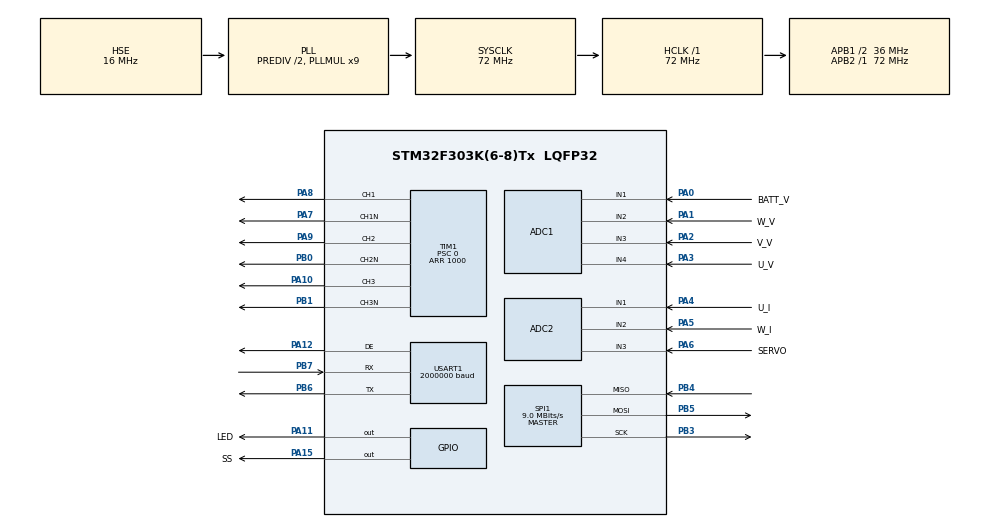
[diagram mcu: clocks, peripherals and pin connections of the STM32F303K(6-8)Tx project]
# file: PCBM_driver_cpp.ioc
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Mcu.Family=STM32F3
ADC2.ExternalTrigConv=ADC_EXTERNALTRIGCONV_T1_TRGO
PA6.Mode=IN3-Single-Ended
ADC2.OffsetNumber-2\#ChannelRegularConversion=ADC_OFFSET_NONE
RCC.CortexFreq_Value=72000000
Dma.ADC1.1.MemDataAlignment=DMA_MDATAALIGN_HALFWORD
PF0\ /\ OSC_IN.Mode=HSE-External-Oscillator
SPI1.VirtualType=VM_MASTER
TIM1.RepetitionCounter=1
ADC2.SamplingTimeOPAMP-4\#ChannelRegularConversion=ADC_SAMPLETIME_61CYCLES_5
USART1.BaudRate=2000000
RCC.SYSCLKSourceVirtual=RCC_SYSCLKSOURCE_PLLCLK
PA0.GPIO_Label=BATT_V
PA6.GPIO_Label=SERVO
ADC2.SamplingTime-4\#ChannelRegularConversion=ADC_SAMPLETIME_19CYCLES_5
ProjectManager.StackSize=0x400
PA15.GPIO_Label=SS
PA12.Signal=USART1_DE
TIM1.Prescaler=0
PA4.Mode=IN1-Single-Ended
ADC2.DMAContinuousRequests=ENABLE
Dma.ADC1.1.Instance=DMA1_Channel1
ADC1.Offset-0\#ChannelRegularConversion=0
ADC1.Channel-3\#ChannelRegularConversion=ADC_CHANNEL_4
SPI1.Direction=SPI_DIRECTION_2LINES
RCC.HCLKFreq_Value=72000000
Dma.ADC2.0.Direction=DMA_PERIPH_TO_MEMORY
ADC1.Offset-1\#ChannelRegularConversion=0
RCC.APB2TimFreq_Value=72000000
TIM3.Period=7200-1
PB6.Signal=USART1_TX
ADC1.Channel-2\#ChannelRegularConversion=ADC_CHANNEL_3
Dma.ADC2.0.MemInc=DMA_MINC_ENABLE
Dma.ADC1.1.PeriphDataAlignment=DMA_PDATAALIGN_HALFWORD
PB6.Mode=Asynchronous
SPI1.CalculateBaudRate=9.0 MBits/s
ADC1.SubFamily=STM32F303x8
ADC1.Offset-3\#ChannelRegularConversion=0
ADC2.EOCSelection=ADC_EOC_SEQ_CONV
RCC.AHBFreq_Value=72000000
Dma.ADC2.0.Priority=DMA_PRIORITY_LOW
ADC1.Channel-0\#ChannelRegularConversion=ADC_CHANNEL_1
RCC.HSE_VALUE=16000000
PB3.Mode=Full_Duplex_Master
ADC2.OffsetNumber-4\#ChannelRegularConversion=ADC_OFFSET_NONE
RCC.RCC_PLLsource_Clock_Source_FROM_HSE=RCC_HSE_PREDIV_DIV2
RCC.PLLMUL=RCC_PLL_MUL9
ADC1.Rank-2\#ChannelRegularConversion=3
Dma.SPI1_RX.2.Direction=DMA_PERIPH_TO_MEMORY
PB4.Mode=Full_Duplex_Master
Dma.SPI1_RX.2.MemDataAlignment=DMA_MDATAALIGN_BYTE
TIM1.DeadTime=30
PB5.Mode=Full_Duplex_Master
SPI1.DataSize=SPI_DATASIZE_8BIT
PA0.Mode=IN1-Single-Ended
Dma.ADC1.1.Priority=DMA_PRIORITY_LOW
PB7.Signal=USART1_RX
Dma.ADC1.1.Mode=DMA_CIRCULAR
PA8.Signal=S_TIM1_CH1
VP_TIM1_VS_ClockSourceINT.Mode=Internal
ADC1.SamplingTime-0\#ChannelRegularConversion=ADC_SAMPLETIME_2CYCLES_5
PA0.Signal=ADC1_IN1
Mcu.Package=LQFP32
PB1.Signal=TIM1_CH3N
PA6.Signal=ADC2_IN3
ADC1.EnableInjectedConversion=DISABLE
Dma.ADC1.1.Direction=DMA_PERIPH_TO_MEMORY
PA2.GPIO_Label=V_V
Dma.ADC1.1.MemInc=DMA_MINC_ENABLE
PA10.Signal=S_TIM1_CH3
ADC2.Offset-2\#ChannelRegularConversion=0
PA15.Signal=GPIO_Output
ADC1.OffsetNumber-1\#ChannelRegularConversion=ADC_OFFSET_NONE
ADC2.Rank-4\#ChannelRegularConversion=3
Dma.ADC2.0.Mode=DMA_CIRCULAR
ADC2.SubFamily=STM32F303x8
ADC2.SamplingTime-2\#ChannelRegularConversion=ADC_SAMPLETIME_19CYCLES_5
Dma.ADC2.0.PeriphDataAlignment=DMA_PDATAALIGN_HALFWORD
ADC2.NbrOfConversion=3
ADC2.Offset-4\#ChannelRegularConversion=0
Dma.Request2=SPI1_RX
Dma.SPI1_RX.2.Priority=DMA_PRIORITY_LOW
Dma.Request1=ADC1
RCC.APB1TimFreq_Value=72000000
Dma.SPI1_RX.2.Mode=DMA_NORMAL
ADC2.Rank-2\#ChannelRegularConversion=1
TIM1.Period=1000
NVIC.DMA1_Channel4_IRQn=true\:0\:0\:false\:false\:true\:false\:true
NVIC.USART1_IRQn=true\:0\:0\:false\:false\:true\:true\:true
Dma.Request0=ADC2
SPI1.BaudRatePrescaler=SPI_BAUDRATEPRESCALER_8
PA4.GPIO_Label=U_I
VP_TIM3_VS_ClockSourceINT.Mode=Internal
ADC2.Channel-3\#ChannelRegularConversion=ADC_CHANNEL_2
PB4.Signal=SPI1_MISO
PA3.Signal=ADC1_IN4
PA5.Mode=IN2-Single-Ended
RCC.PLLSourceVirtual=RCC_PLLSOURCE_HSE
ADC1.Rank-0\#ChannelRegularConversion=1
PA7.Mode=PWM Generation1 CH1 CH1N
ADC2.Offset-3\#ChannelRegularConversion=0
TIM1.CounterMode=TIM_COUNTERMODE_CENTERALIGNED1
ADC1.OffsetNumber-0\#ChannelRegularConversion=ADC_OFFSET_NONE
ADC2.Rank-3\#ChannelRegularConversion=2
ADC1.OffsetNumber-3\#ChannelRegularConversion=ADC_OFFSET_NONE
PA11.GPIO_Label=LED
SPI1.CLKPhase=SPI_PHASE_2EDGE
TIM1.Channel-PWM\ Generation1\ CH1\ CH1N=TIM_CHANNEL_1
ADC2.EnableRegularConversion=ENABLE
RCC.APB1CLKDivider=RCC_HCLK_DIV2
ADC1.SamplingTime-2\#ChannelRegularConversion=ADC_SAMPLETIME_2CYCLES_5
Dma.SPI1_RX.2.Instance=DMA1_Channel4
USART1.VirtualMode-Asynchronous=VM_ASYNC
PA3.Mode=IN4-Single-Ended
TIM1.Channel-PWM\ Generation2\ CH2\ CH2N=TIM_CHANNEL_2
ADC2.OffsetNumber-3\#ChannelRegularConversion=ADC_OFFSET_NONE
SH.S_TIM1_CH1.0=TIM1_CH1,PWM Generation1 CH1 CH1N
ADC2.SamplingTimeOPAMP-3\#ChannelRegularConversion=ADC_SAMPLETIME_61CYCLES_5
ADC2.ContinuousConvMode=DISABLE
NVIC.DMA1_Channel2_IRQn=true\:0\:0\:false\:false\:true\:false\:true
ProjectManager.TargetToolchain=STM32CubeIDE
Dma.ADC2.0.MemDataAlignment=DMA_MDATAALIGN_HALFWORD
PA9.Signal=S_TIM1_CH2
ADC1.Channel-1\#ChannelRegularConversion=ADC_CHANNEL_2
TIM1.Channel-PWM\ Generation3\ CH3\ CH3N=TIM_CHANNEL_3
ADC1.Offset-2\#ChannelRegularConversion=0
PF1\ /\ OSC_OUT.Signal=RCC_OSC_OUT
PA1.Signal=ADC1_IN2
PA5.Signal=ADC2_IN2
PB0.Mode=PWM Generation2 CH2 CH2N
board=custom
ADC2.Channel-2\#ChannelRegularConversion=ADC_CHANNEL_1
NVIC.TIM3_IRQn=true\:0\:0\:false\:false\:true\:true\:true
Dma.ADC2.0.PeriphInc=DMA_PINC_DISABLE
NVIC.SPI1_IRQn=true\:0\:0\:false\:false\:true\:true\:true
TIM1.TIM_MasterOutputTrigger=TIM_TRGO_UPDATE
RCC.APB2Freq_Value=72000000
PA1.Mode=IN2-Single-Ended
PF0\ /\ OSC_IN.Signal=RCC_OSC_IN
SH.S_TIM1_CH2.0=TIM1_CH2,PWM Generation2 CH2 CH2N
SPI1.Mode=SPI_MODE_MASTER
USART1.VirtualMode-Hardware\ Flow\ Control\ (RS485)=VM_ASYNC
PA1.GPIO_Label=W_V
Dma.ADC1.1.PeriphInc=DMA_PINC_DISABLE
ADC1.DMAContinuousRequests=ENABLE
ADC2.SamplingTime-3\#ChannelRegularConversion=ADC_SAMPLETIME_19CYCLES_5
ADC1.NbrOfConversion=4
ADC1.OffsetNumber-2\#ChannelRegularConversion=ADC_OFFSET_NONE
Mcu.Name=STM32F303K(6-8)Tx
Dma.SPI1_RX.2.PeriphDataAlignment=DMA_PDATAALIGN_BYTE
PA2.Signal=ADC1_IN3
ADC1.ExternalTrigConv=ADC_EXTERNALTRIGCONV_T1_TRGO
Dma.SPI1_RX.2.MemInc=DMA_MINC_ENABLE
ADC2.EnableInjectedConversion=DISABLE
PB3.Signal=SPI1_SCK
PA4.Signal=ADC2_IN1
ADC1.SamplingTime-1\#ChannelRegularConversion=ADC_SAMPLETIME_2CYCLES_5
RCC.SYSCLKFreq_VALUE=72000000
TIM1.TIM_MasterOutputTrigger2=TIM_TRGO2_UPDATE
PB5.Signal=SPI1_MOSI
ADC1.master=1
PA12.Mode=Hardware Flow Control (RS485)
PA5.GPIO_Label=W_I
ADC1.Rank-3\#ChannelRegularConversion=4
ADC1.SamplingTime-3\#ChannelRegularConversion=ADC_SAMPLETIME_2CYCLES_5
ADC2.NbrOfConversionFlag=1
ADC1.Rank-1\#ChannelRegularConversion=2
PB7.Mode=Asynchronous
PA11.Signal=GPIO_Output
ProjectManager.HeapSize=0x200
PB1.Mode=PWM Generation3 CH3 CH3N
SH.S_TIM1_CH3.0=TIM1_CH3,PWM Generation3 CH3 CH3N
RCC.HSI_VALUE=8000000
NVIC.PriorityGroup=NVIC_PRIORITYGROUP_4
ADC1.NbrOfConversionFlag=1
PA2.Mode=IN3-Single-Ended
NVIC.DMA1_Channel1_IRQn=true\:0\:0\:false\:false\:true\:false\:true
RCC.APB1Freq_Value=36000000
Dma.ADC2.0.Instance=DMA1_Channel2
PB0.Signal=TIM1_CH2N
ADC2.Channel-4\#ChannelRegularConversion=ADC_CHANNEL_3
Dma.SPI1_RX.2.PeriphInc=DMA_PINC_DISABLE
TIM1.TIM_MasterSlaveMode=TIM_MASTERSLAVEMODE_ENABLE
PF1\ /\ OSC_OUT.Mode=HSE-External-Oscillator
PA3.GPIO_Label=U_V
PA7.Signal=TIM1_CH1N

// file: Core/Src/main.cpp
/* USER CODE BEGIN Header */
/**
  ******************************************************************************
  * @file           : main.c
  * @brief          : Main program body
  ******************************************************************************
  * @attention
  *
  * <h2><center>&copy; Copyright (c) 2023 STMicroelectronics.
  * All rights reserved.</center></h2>
  *
  * This software component is licensed by ST under BSD 3-Clause license,
  * the "License"; You may not use this file except in compliance with the
  * License. You may obtain a copy of the License at:
  *                        opensource.org/licenses/BSD-3-Clause
  *
  ******************************************************************************
  */
/* USER CODE END Header */
#include "main.h"

/* USER CODE BEGIN Includes */
#include "../driver/motor.hpp"
/* USER CODE END Includes */

ADC_HandleTypeDef hadc1;
ADC_HandleTypeDef hadc2;
DMA_HandleTypeDef hdma_adc1;
DMA_HandleTypeDef hdma_adc2;

SPI_HandleTypeDef hspi1;
DMA_HandleTypeDef hdma_spi1_rx;

TIM_HandleTypeDef htim1;
TIM_HandleTypeDef htim3;

UART_HandleTypeDef huart1;

void SystemClock_Config(void);
static void MX_GPIO_Init(void);
static void MX_DMA_Init(void);
static void MX_TIM1_Init(void);
static void MX_USART1_UART_Init(void);
static void MX_ADC2_Init(void);
static void MX_ADC1_Init(void);
static void MX_TIM3_Init(void);
static void MX_SPI1_Init(void);
/* USER CODE BEGIN PFP */
extern "C" {
	int _write(int file, char *ptr, int len) {
		HAL_UART_Transmit_IT(&huart1, (uint8_t*) ptr, len);
		return len;
	}
}

sin_table table;
motor_math mathlib(table);
PWM U(&htim1, TIM_CHANNEL_3, 1000);
PWM V(&htim1, TIM_CHANNEL_2, 1000);
PWM W(&htim1, TIM_CHANNEL_1, 1000);
DRIVER driver(U, V, W, table);
ADC adc(&hadc1,&hadc2,0.025,1);
AS5048 enc(&hspi1,SS_GPIO_Port,SS_Pin);

MOTOR motor(driver,adc,mathlib,enc);

void HAL_TIM_PeriodElapsedCallback(TIM_HandleTypeDef *htim){
	if(htim == &htim3){
#ifdef TIM3_INT
		motor.control();
#endif
	}
}

void HAL_SPI_TxRxCpltCallback(SPI_HandleTypeDef *hspi1){
	HAL_GPIO_WritePin(SS_GPIO_Port, SS_Pin, GPIO_PIN_SET);
	enc.set_flag(true);
}

/* USER CODE END PFP */

int main(void)
{
  /* USER CODE BEGIN 1 */
	setbuf(stdout, NULL);
  /* USER CODE END 1 */

  /* MCU Configuration--------------------------------------------------------*/

  /* Reset of all peripherals, Initializes the Flash interface and the Systick. */
  HAL_Init();

  /* Configure the system clock */
  SystemClock_Config();

  /* Initialize all configured peripherals */
  MX_GPIO_Init();
  MX_DMA_Init();
  MX_TIM1_Init();
  MX_USART1_UART_Init();
  MX_ADC2_Init();
  MX_ADC1_Init();
  MX_TIM3_Init();
  MX_SPI1_Init();
  /* USER CODE BEGIN 2 */
  motor.init();
  HAL_TIM_Base_Start_IT(&htim3);
  /* USER CODE END 2 */

  /* Infinite loop */
  while (1)
  {

    /* USER CODE BEGIN 3 */
	  motor.set_torque(adc.get_servo()*0.0005);

	  motor.print_debug();
	  HAL_Delay(1);
  }
  /* USER CODE END 3 */
}

void SystemClock_Config(void)
{
  RCC_OscInitTypeDef RCC_OscInitStruct = {0};
  RCC_ClkInitTypeDef RCC_ClkInitStruct = {0};
  RCC_PeriphCLKInitTypeDef PeriphClkInit = {0};

  /** Initializes the RCC Oscillators according to the specified parameters
  * in the RCC_OscInitTypeDef structure.
  */
  RCC_OscInitStruct.OscillatorType = RCC_OSCILLATORTYPE_HSE;
  RCC_OscInitStruct.HSEState = RCC_HSE_ON;
  RCC_OscInitStruct.HSEPredivValue = RCC_HSE_PREDIV_DIV2;
  RCC_OscInitStruct.HSIState = RCC_HSI_ON;
  RCC_OscInitStruct.PLL.PLLState = RCC_PLL_ON;
  RCC_OscInitStruct.PLL.PLLSource = RCC_PLLSOURCE_HSE;
  RCC_OscInitStruct.PLL.PLLMUL = RCC_PLL_MUL9;
  if (HAL_RCC_OscConfig(&RCC_OscInitStruct) != HAL_OK)
  {
    Error_Handler();
  }
  /** Initializes the CPU, AHB and APB buses clocks
  */
  RCC_ClkInitStruct.ClockType = RCC_CLOCKTYPE_HCLK|RCC_CLOCKTYPE_SYSCLK
                              |RCC_CLOCKTYPE_PCLK1|RCC_CLOCKTYPE_PCLK2;
  RCC_ClkInitStruct.SYSCLKSource = RCC_SYSCLKSOURCE_PLLCLK;
  RCC_ClkInitStruct.AHBCLKDivider = RCC_SYSCLK_DIV1;
  RCC_ClkInitStruct.APB1CLKDivider = RCC_HCLK_DIV2;
  RCC_ClkInitStruct.APB2CLKDivider = RCC_HCLK_DIV1;

  if (HAL_RCC_ClockConfig(&RCC_ClkInitStruct, FLASH_LATENCY_2) != HAL_OK)
  {
    Error_Handler();
  }
  PeriphClkInit.PeriphClockSelection = RCC_PERIPHCLK_USART1|RCC_PERIPHCLK_TIM1
                              |RCC_PERIPHCLK_ADC12;
  PeriphClkInit.Usart1ClockSelection = RCC_USART1CLKSOURCE_PCLK1;
  PeriphClkInit.Adc12ClockSelection = RCC_ADC12PLLCLK_DIV1;
  PeriphClkInit.Tim1ClockSelection = RCC_TIM1CLK_HCLK;
  if (HAL_RCCEx_PeriphCLKConfig(&PeriphClkInit) != HAL_OK)
  {
    Error_Handler();
  }
}

static void MX_ADC1_Init(void)
{

  ADC_MultiModeTypeDef multimode = {0};
  ADC_ChannelConfTypeDef sConfig = {0};

  /** Common config
  */
  hadc1.Instance = ADC1;
  hadc1.Init.ClockPrescaler = ADC_CLOCK_ASYNC_DIV1;
  hadc1.Init.Resolution = ADC_RESOLUTION_12B;
  hadc1.Init.ScanConvMode = ADC_SCAN_ENABLE;
  hadc1.Init.ContinuousConvMode = DISABLE;
  hadc1.Init.DiscontinuousConvMode = DISABLE;
  hadc1.Init.ExternalTrigConvEdge = ADC_EXTERNALTRIGCONVEDGE_RISING;
  hadc1.Init.ExternalTrigConv = ADC_EXTERNALTRIGCONV_T1_TRGO;
  hadc1.Init.DataAlign = ADC_DATAALIGN_RIGHT;
  hadc1.Init.NbrOfConversion = 4;
  hadc1.Init.DMAContinuousRequests = ENABLE;
  hadc1.Init.EOCSelection = ADC_EOC_SINGLE_CONV;
  hadc1.Init.LowPowerAutoWait = DISABLE;
  hadc1.Init.Overrun = ADC_OVR_DATA_OVERWRITTEN;
  if (HAL_ADC_Init(&hadc1) != HAL_OK)
  {
    Error_Handler();
  }
  /** Configure the ADC multi-mode
  */
  multimode.Mode = ADC_MODE_INDEPENDENT;
  if (HAL_ADCEx_MultiModeConfigChannel(&hadc1, &multimode) != HAL_OK)
  {
    Error_Handler();
  }
  /** Configure Regular Channel
  */
  sConfig.Channel = ADC_CHANNEL_1;
  sConfig.Rank = ADC_REGULAR_RANK_1;
  sConfig.SingleDiff = ADC_SINGLE_ENDED;
  sConfig.SamplingTime = ADC_SAMPLETIME_2CYCLES_5;
  sConfig.OffsetNumber = ADC_OFFSET_NONE;
  sConfig.Offset = 0;
  if (HAL_ADC_ConfigChannel(&hadc1, &sConfig) != HAL_OK)
  {
    Error_Handler();
  }
  /** Configure Regular Channel
  */
  sConfig.Channel = ADC_CHANNEL_2;
  sConfig.Rank = ADC_REGULAR_RANK_2;
  if (HAL_ADC_ConfigChannel(&hadc1, &sConfig) != HAL_OK)
  {
    Error_Handler();
  }
  /** Configure Regular Channel
  */
  sConfig.Channel = ADC_CHANNEL_3;
  sConfig.Rank = ADC_REGULAR_RANK_3;
  if (HAL_ADC_ConfigChannel(&hadc1, &sConfig) != HAL_OK)
  {
    Error_Handler();
  }
  /** Configure Regular Channel
  */
  sConfig.Channel = ADC_CHANNEL_4;
  sConfig.Rank = ADC_REGULAR_RANK_4;
  if (HAL_ADC_ConfigChannel(&hadc1, &sConfig) != HAL_OK)
  {
    Error_Handler();
  }

}

static void MX_ADC2_Init(void)
{

  ADC_ChannelConfTypeDef sConfig = {0};

  /** Common config
  */
  hadc2.Instance = ADC2;
  hadc2.Init.ClockPrescaler = ADC_CLOCK_ASYNC_DIV1;
  hadc2.Init.Resolution = ADC_RESOLUTION_12B;
  hadc2.Init.ScanConvMode = ADC_SCAN_ENABLE;
  hadc2.Init.ContinuousConvMode = DISABLE;
  hadc2.Init.DiscontinuousConvMode = DISABLE;
  hadc2.Init.ExternalTrigConvEdge = ADC_EXTERNALTRIGCONVEDGE_RISING;
  hadc2.Init.ExternalTrigConv = ADC_EXTERNALTRIGCONV_T1_TRGO;
  hadc2.Init.DataAlign = ADC_DATAALIGN_RIGHT;
  hadc2.Init.NbrOfConversion = 3;
  hadc2.Init.DMAContinuousRequests = ENABLE;
  hadc2.Init.EOCSelection = ADC_EOC_SEQ_CONV;
  hadc2.Init.LowPowerAutoWait = DISABLE;
  hadc2.Init.Overrun = ADC_OVR_DATA_OVERWRITTEN;
  if (HAL_ADC_Init(&hadc2) != HAL_OK)
  {
    Error_Handler();
  }
  /** Configure Regular Channel
  */
  sConfig.Channel = ADC_CHANNEL_1;
  sConfig.Rank = ADC_REGULAR_RANK_1;
  sConfig.SingleDiff = ADC_SINGLE_ENDED;
  sConfig.SamplingTime = ADC_SAMPLETIME_19CYCLES_5;
  sConfig.OffsetNumber = ADC_OFFSET_NONE;
  sConfig.Offset = 0;
  if (HAL_ADC_ConfigChannel(&hadc2, &sConfig) != HAL_OK)
  {
    Error_Handler();
  }
  /** Configure Regular Channel
  */
  sConfig.Channel = ADC_CHANNEL_2;
  sConfig.Rank = ADC_REGULAR_RANK_2;
  if (HAL_ADC_ConfigChannel(&hadc2, &sConfig) != HAL_OK)
  {
    Error_Handler();
  }
  /** Configure Regular Channel
  */
  sConfig.Channel = ADC_CHANNEL_3;
  sConfig.Rank = ADC_REGULAR_RANK_3;
  if (HAL_ADC_ConfigChannel(&hadc2, &sConfig) != HAL_OK)
  {
    Error_Handler();
  }

}

static void MX_SPI1_Init(void)
{

  /* SPI1 parameter configuration*/
  hspi1.Instance = SPI1;
  hspi1.Init.Mode = SPI_MODE_MASTER;
  hspi1.Init.Direction = SPI_DIRECTION_2LINES;
  hspi1.Init.DataSize = SPI_DATASIZE_8BIT;
  hspi1.Init.CLKPolarity = SPI_POLARITY_LOW;
  hspi1.Init.CLKPhase = SPI_PHASE_2EDGE;
  hspi1.Init.NSS = SPI_NSS_SOFT;
  hspi1.Init.BaudRatePrescaler = SPI_BAUDRATEPRESCALER_8;
  hspi1.Init.FirstBit = SPI_FIRSTBIT_MSB;
  hspi1.Init.TIMode = SPI_TIMODE_DISABLE;
  hspi1.Init.CRCCalculation = SPI_CRCCALCULATION_DISABLE;
  hspi1.Init.CRCPolynomial = 7;
  hspi1.Init.CRCLength = SPI_CRC_LENGTH_DATASIZE;
  hspi1.Init.NSSPMode = SPI_NSS_PULSE_DISABLE;
  if (HAL_SPI_Init(&hspi1) != HAL_OK)
  {
    Error_Handler();
  }

}

static void MX_TIM1_Init(void)
{

  TIM_ClockConfigTypeDef sClockSourceConfig = {0};
  TIM_MasterConfigTypeDef sMasterConfig = {0};
  TIM_OC_InitTypeDef sConfigOC = {0};
  TIM_BreakDeadTimeConfigTypeDef sBreakDeadTimeConfig = {0};

  htim1.Instance = TIM1;
  htim1.Init.Prescaler = 0;
  htim1.Init.CounterMode = TIM_COUNTERMODE_CENTERALIGNED1;
  htim1.Init.Period = 1000;
  htim1.Init.ClockDivision = TIM_CLOCKDIVISION_DIV1;
  htim1.Init.RepetitionCounter = 1;
  htim1.Init.AutoReloadPreload = TIM_AUTORELOAD_PRELOAD_DISABLE;
  if (HAL_TIM_Base_Init(&htim1) != HAL_OK)
  {
    Error_Handler();
  }
  sClockSourceConfig.ClockSource = TIM_CLOCKSOURCE_INTERNAL;
  if (HAL_TIM_ConfigClockSource(&htim1, &sClockSourceConfig) != HAL_OK)
  {
    Error_Handler();
  }
  if (HAL_TIM_PWM_Init(&htim1) != HAL_OK)
  {
    Error_Handler();
  }
  sMasterConfig.MasterOutputTrigger = TIM_TRGO_UPDATE;
  sMasterConfig.MasterOutputTrigger2 = TIM_TRGO2_UPDATE;
  sMasterConfig.MasterSlaveMode = TIM_MASTERSLAVEMODE_ENABLE;
  if (HAL_TIMEx_MasterConfigSynchronization(&htim1, &sMasterConfig) != HAL_OK)
  {
    Error_Handler();
  }
  sConfigOC.OCMode = TIM_OCMODE_PWM1;
  sConfigOC.Pulse = 0;
  sConfigOC.OCPolarity = TIM_OCPOLARITY_HIGH;
  sConfigOC.OCNPolarity = TIM_OCNPOLARITY_HIGH;
  sConfigOC.OCFastMode = TIM_OCFAST_DISABLE;
  sConfigOC.OCIdleState = TIM_OCIDLESTATE_RESET;
  sConfigOC.OCNIdleState = TIM_OCNIDLESTATE_RESET;
  if (HAL_TIM_PWM_ConfigChannel(&htim1, &sConfigOC, TIM_CHANNEL_1) != HAL_OK)
  {
    Error_Handler();
  }
  if (HAL_TIM_PWM_ConfigChannel(&htim1, &sConfigOC, TIM_CHANNEL_2) != HAL_OK)
  {
    Error_Handler();
  }
  if (HAL_TIM_PWM_ConfigChannel(&htim1, &sConfigOC, TIM_CHANNEL_3) != HAL_OK)
  {
    Error_Handler();
  }
  sBreakDeadTimeConfig.OffStateRunMode = TIM_OSSR_DISABLE;
  sBreakDeadTimeConfig.OffStateIDLEMode = TIM_OSSI_DISABLE;
  sBreakDeadTimeConfig.LockLevel = TIM_LOCKLEVEL_OFF;
  sBreakDeadTimeConfig.DeadTime = 30;
  sBreakDeadTimeConfig.BreakState = TIM_BREAK_DISABLE;
  sBreakDeadTimeConfig.BreakPolarity = TIM_BREAKPOLARITY_HIGH;
  sBreakDeadTimeConfig.BreakFilter = 0;
  sBreakDeadTimeConfig.Break2State = TIM_BREAK2_DISABLE;
  sBreakDeadTimeConfig.Break2Polarity = TIM_BREAK2POLARITY_HIGH;
  sBreakDeadTimeConfig.Break2Filter = 0;
  sBreakDeadTimeConfig.AutomaticOutput = TIM_AUTOMATICOUTPUT_DISABLE;
  if (HAL_TIMEx_ConfigBreakDeadTime(&htim1, &sBreakDeadTimeConfig) != HAL_OK)
  {
    Error_Handler();
  }
  HAL_TIM_MspPostInit(&htim1);

}

static void MX_TIM3_Init(void)
{

  TIM_ClockConfigTypeDef sClockSourceConfig = {0};
  TIM_MasterConfigTypeDef sMasterConfig = {0};

  htim3.Instance = TIM3;
  htim3.Init.Prescaler = 0;
  htim3.Init.CounterMode = TIM_COUNTERMODE_UP;
  htim3.Init.Period = 7200-1;
  htim3.Init.ClockDivision = TIM_CLOCKDIVISION_DIV1;
  htim3.Init.AutoReloadPreload = TIM_AUTORELOAD_PRELOAD_DISABLE;
  if (HAL_TIM_Base_Init(&htim3) != HAL_OK)
  {
    Error_Handler();
  }
  sClockSourceConfig.ClockSource = TIM_CLOCKSOURCE_INTERNAL;
  if (HAL_TIM_ConfigClockSource(&htim3, &sClockSourceConfig) != HAL_OK)
  {
    Error_Handler();
  }
  sMasterConfig.MasterOutputTrigger = TIM_TRGO_RESET;
  sMasterConfig.MasterSlaveMode = TIM_MASTERSLAVEMODE_DISABLE;
  if (HAL_TIMEx_MasterConfigSynchronization(&htim3, &sMasterConfig) != HAL_OK)
  {
    Error_Handler();
  }

}

static void MX_USART1_UART_Init(void)
{

  huart1.Instance = USART1;
  huart1.Init.BaudRate = 2000000;
  huart1.Init.WordLength = UART_WORDLENGTH_8B;
  huart1.Init.StopBits = UART_STOPBITS_1;
  huart1.Init.Parity = UART_PARITY_NONE;
  huart1.Init.Mode = UART_MODE_TX_RX;
  huart1.Init.HwFlowCtl = UART_HWCONTROL_NONE;
  huart1.Init.OverSampling = UART_OVERSAMPLING_16;
  huart1.Init.OneBitSampling = UART_ONE_BIT_SAMPLE_DISABLE;
  huart1.AdvancedInit.AdvFeatureInit = UART_ADVFEATURE_NO_INIT;
  if (HAL_RS485Ex_Init(&huart1, UART_DE_POLARITY_HIGH, 0, 0) != HAL_OK)
  {
    Error_Handler();
  }

}

static void MX_DMA_Init(void)
{

  /* DMA controller clock enable */
  __HAL_RCC_DMA1_CLK_ENABLE();

  /* DMA interrupt init */
  /* DMA1_Channel1_IRQn interrupt configuration */
  HAL_NVIC_SetPriority(DMA1_Channel1_IRQn, 0, 0);
  HAL_NVIC_EnableIRQ(DMA1_Channel1_IRQn);
  /* DMA1_Channel2_IRQn interrupt configuration */
  HAL_NVIC_SetPriority(DMA1_Channel2_IRQn, 0, 0);
  HAL_NVIC_EnableIRQ(DMA1_Channel2_IRQn);
  /* DMA1_Channel4_IRQn interrupt configuration */
  HAL_NVIC_SetPriority(DMA1_Channel4_IRQn, 0, 0);
  HAL_NVIC_EnableIRQ(DMA1_Channel4_IRQn);

}

static void MX_GPIO_Init(void)
{
  GPIO_InitTypeDef GPIO_InitStruct = {0};

  /* GPIO Ports Clock Enable */
  __HAL_RCC_GPIOF_CLK_ENABLE();
  __HAL_RCC_GPIOA_CLK_ENABLE();
  __HAL_RCC_GPIOB_CLK_ENABLE();

  /*Configure GPIO pin Output Level */
  HAL_GPIO_WritePin(GPIOA, LED_Pin|SS_Pin, GPIO_PIN_RESET);

  /*Configure GPIO pins : LED_Pin SS_Pin */
  GPIO_InitStruct.Pin = LED_Pin|SS_Pin;
  GPIO_InitStruct.Mode = GPIO_MODE_OUTPUT_PP;
  GPIO_InitStruct.Pull = GPIO_NOPULL;
  GPIO_InitStruct.Speed = GPIO_SPEED_FREQ_LOW;
  HAL_GPIO_Init(GPIOA, &GPIO_InitStruct);

}

void Error_Handler(void)
{
  __disable_irq();
  while (1)
  {
  }
}

/************************ (C) COPYRIGHT STMicroelectronics *****END OF FILE****/
